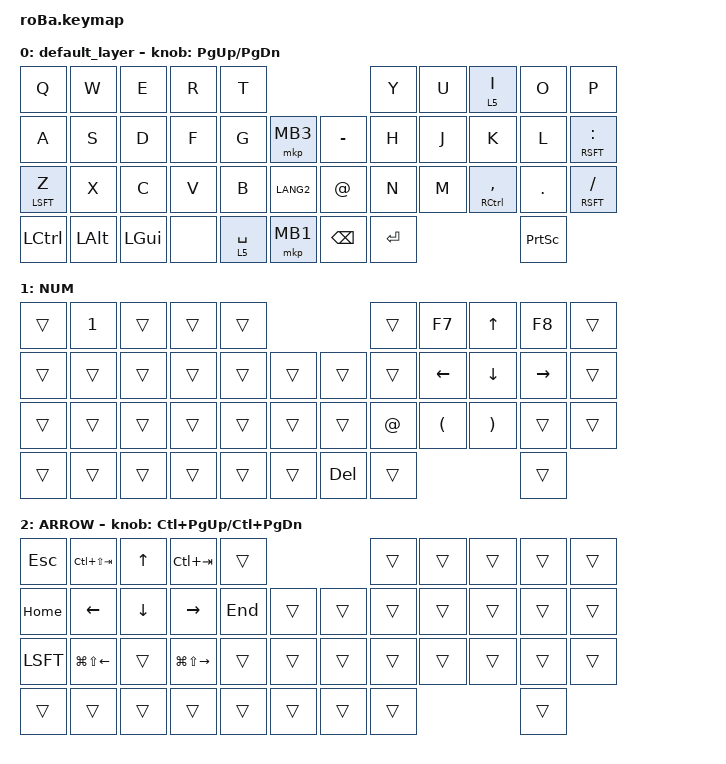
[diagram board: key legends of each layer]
 #include <behaviors.dtsi>
#include <dt-bindings/zmk/bt.h>
#include <dt-bindings/zmk/keys.h>
#include <dt-bindings/zmk/pointing.h>

&trackball {
    automouse-layer = <4>;
    scroll-layers = <5>;
};

/ {
    combos {
        compatible = "zmk,combos";

        lang1 {
            bindings = <&kp LANG1>;
            key-positions = <18 19>;
        };

        lang2 {
            bindings = <&kp LANG2>;
            key-positions = <12 13>;
        };
    };

    keymap {
        compatible = "zmk,keymap";

        default_layer {
            bindings = <
&kp Q  &kp W  &kp E  &kp R  &kp T                         &kp Y  &kp U  &lt 5 I   &kp O  &kp P
&kp A  &kp S  &kp D  &kp F  &kp G  &mkp MB3   &kp MINUS   &kp H  &kp J  &kp K   &kp L  &mt RSFT COLON
&mt LSFT Z  &kp X  &kp C  &kp V  &kp B  &kp LANG2  &kp AT  &kp N  &kp M  &mt RCTRL COMMA  &kp DOT  &mt RSFT SLASH
&kp LCTRL  &kp LALT  &kp LGUI  &none  &lt 5 SPACE  &mkp MB1  &kp BSPC  &kp ENTER            &kp PSCRN
            >;

            sensor-bindings = <&inc_dec_kp PG_UP PG_DN>;
        };

        NUM {
            bindings = <
&trans  &kp N1  &trans  &trans  &trans                       &trans  &kp F7   &kp UP    &kp F8   &trans
&trans  &trans  &trans  &trans  &trans  &trans     &trans     &trans  &kp LEFT &kp DOWN &kp RIGHT &trans
&trans  &trans  &trans  &trans  &trans  &trans     &trans     &kp AT  &kp LPAR &kp RPAR &trans   &trans
&trans  &trans  &trans  &trans  &trans  &trans     &kp DEL    &trans                        &trans
            >;
        };

        ARROW {
            bindings = <
&kp ESC  &kp LC(LS(TAB))  &kp UP    &kp LC(TAB)        &trans                 &trans &trans &trans &trans &trans
&kp HOME &kp LEFT         &kp DOWN  &kp RIGHT          &kp END  &trans        &trans &trans &trans &trans &trans &trans
&kp LSFT &kp LG(LS(LEFT)) &trans    &kp LG(LS(RIGHT))  &trans   &trans        &trans &trans &trans &trans &trans &trans
&trans   &trans           &trans    &trans              &trans   &trans        &trans &trans                     &trans
            >;

            sensor-bindings = <&inc_dec_kp LC(PG_UP) LC(PG_DN)>;
        };
    };
};
